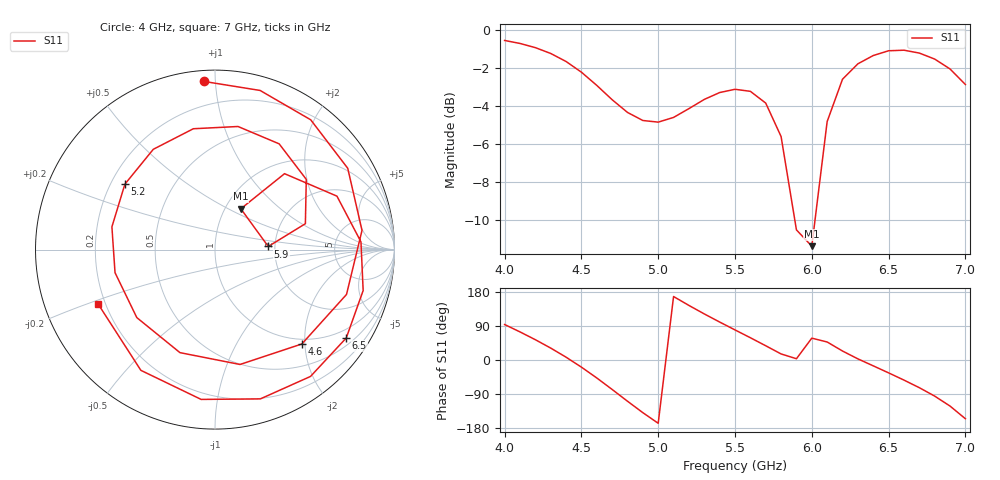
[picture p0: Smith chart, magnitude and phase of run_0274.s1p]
! Touchstone file exported from HFSS 2024.2.0
!  File:  C:/Users/wsak9/Desktop/Sim Fast/Widenad Patch/WP_AI_V1_sweep.aedt
!  Generated:  02:31:59 AM Oct 14, 2026
!  Design:  A1_model
!  Project:  WP_AI_V1_sweep
!  Setup:  Setup1
!  Solution:  Sweep
! Variables:
!  Air_gap = 3.08mm
!  Curve_Amp1 = 2.79
!  Curve_len1 = 1
!  Curve_pos = 10.12mm
!  Extra = 1.66mm
!  H_sub = 0.79mm
!  L_Patch = 16.24mm
!  L_Patch1 = 17.71mm
!  Sx = 3.15mm
!  Sy = 4.08mm
!  WS = 1.34mm
!  W_Patch = 18.46mm
!  W_Patch1 = 16.05mm
!Data is not renormalized
# GHz S MA
! Terminal data exported
! Port[1] = 1
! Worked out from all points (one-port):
!   31 points, 4 GHz to 7 GHz, reference per port
!   lowest |S11| = -11.4 dB at 6 GHz (marker M1), VSWR 1.74
!   |S11| at or under -10 dB: 5.889 GHz to 6.021 GHz (132.2 MHz wide, 2.22 % of centre)
!   S11 on the Smith chart (normalised r, x): 4 GHz: 0.06, +0.94; 4.6 GHz: 0.90, -1.94; 5.2 GHz: 0.26, +0.31; 5.9 GHz: 1.84, +0.07; 6.5 GHz: 0.71, -3.13; 7 GHz: 0.17, -0.22
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4  0.9385 93.6
4.1  0.9216 74.2
4.2  0.8985 53.6
4.3  0.8673 31.5
4.4  0.8261 7.5
4.5  0.7742 -18.8
4.6  0.7145 -47.4
4.7  0.655 -77.7
4.8  0.6063 -108.8
4.9  0.5773 -139.0
5  0.5716 -167.0
5.2  0.6205 144.0
5.4  0.6841 100.2
5.5  0.6977 79.4
5.6  0.6891 58.8
5.7  0.6417 37.6
5.8  0.5239 16.0
5.9  0.2972 3.3
6  0.2692 57.7
6.1  0.5736 47.5
6.2  0.7418 23.7
6.3  0.8144 3.0
6.4  0.8564 -15.4
6.5  0.8816 -34.0
6.7  0.8693 -73.1
6.8  0.8382 -95.3
6.9  0.7893 -121.5
7  0.7183 -155.0
